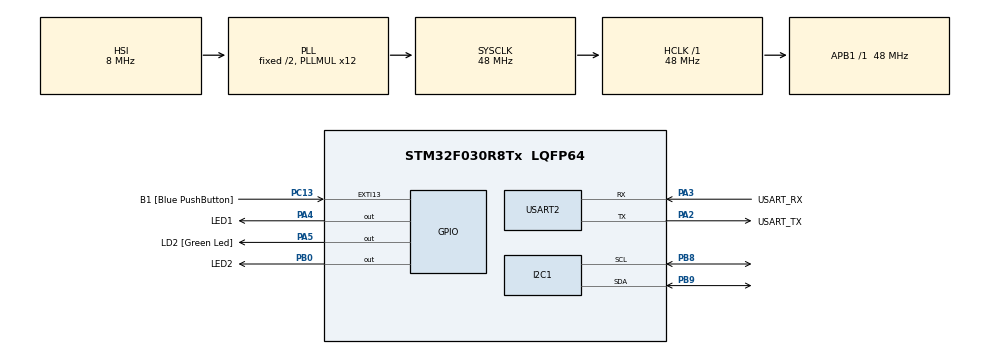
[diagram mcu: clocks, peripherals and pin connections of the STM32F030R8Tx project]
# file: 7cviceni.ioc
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FREERTOS.Queues01=xVisualQueue,16,uint16_t,0,Dynamic,NULL,NULL
FREERTOS.Tasks01=defaultTask,0,128,StartDefaultTask,Default,NULL,Dynamic,NULL,NULL;VisualTask,0,128,StartVisualTask,Default,NULL,Dynamic,NULL,NULL;AcceleroTask,0,128,StartAcceleroTask,Default,NULL,Dynamic,NULL,NULL
FREERTOS.configUSE_NEWLIB_REENTRANT=1
Mcu.Family=STM32F0
Mcu.Name=STM32F030R8Tx
Mcu.Package=LQFP64
NVIC.TIM14_IRQn=true\:3\:0\:false\:false\:true\:false\:false\:true\:true
NVIC.TimeBase=TIM14_IRQn
NVIC.TimeBaseIP=TIM14
PA13.GPIO_Label=TMS
PA13.Mode=Serial_Wire
PA13.Signal=SYS_SWDIO
PA14.GPIO_Label=TCK
PA14.Mode=Serial_Wire
PA14.Signal=SYS_SWCLK
PA2.GPIO_Label=USART_TX
PA2.GPIO_Mode=GPIO_MODE_AF_PP
PA2.GPIO_PuPd=GPIO_NOPULL
PA2.GPIO_Speed=GPIO_SPEED_FREQ_LOW
PA2.Mode=Asynchronous
PA2.Signal=USART2_TX
PA3.GPIO_Label=USART_RX
PA3.GPIO_Mode=GPIO_MODE_AF_PP
PA3.GPIO_PuPd=GPIO_NOPULL
PA3.GPIO_Speed=GPIO_SPEED_FREQ_LOW
PA3.Mode=Asynchronous
PA3.Signal=USART2_RX
PA4.GPIO_Label=LED1
PA4.Signal=GPIO_Output
PA5.GPIO_Label=LD2 [Green Led]
PA5.GPIO_Mode=GPIO_MODE_OUTPUT_PP
PA5.GPIO_PuPd=GPIO_NOPULL
PA5.GPIO_Speed=GPIO_SPEED_FREQ_LOW
PA5.Signal=GPIO_Output
PB0.GPIO_Label=LED2
PB0.Signal=GPIO_Output
PB8.Mode=I2C
PB8.Signal=I2C1_SCL
PB9.Mode=I2C
PB9.Signal=I2C1_SDA
PC13.GPIO_Label=B1 [Blue PushButton]
PC13.GPIO_ModeDefaultEXTI=GPIO_MODE_IT_FALLING
PC13.Signal=GPXTI13
PC14-OSC32_IN.Mode=LSE-External-Oscillator
PC14-OSC32_IN.Signal=RCC_OSC32_IN
PC15-OSC32_OUT.Mode=LSE-External-Oscillator
PC15-OSC32_OUT.Signal=RCC_OSC32_OUT
PF0-OSC_IN.Mode=HSE-External-Clock-Source
PF0-OSC_IN.Signal=RCC_OSC_IN
PF1-OSC_OUT.Signal=RCC_OSC_OUT
ProjectManager.HeapSize=0x200
ProjectManager.StackSize=0x400
ProjectManager.TargetToolchain=STM32CubeIDE
RCC.AHBFreq_Value=48000000
RCC.APB1Freq_Value=48000000
RCC.APB1TimFreq_Value=48000000
RCC.HCLKFreq_Value=48000000
RCC.PLLMUL=RCC_PLL_MUL12
RCC.SYSCLKFreq_VALUE=48000000
RCC.SYSCLKSource=RCC_SYSCLKSOURCE_PLLCLK
USART2.VirtualMode-Asynchronous=VM_ASYNC
VP_FREERTOS_VS_CMSIS_V1.Mode=CMSIS_V1
VP_SYS_VS_tim14.Mode=TIM14
board=NUCLEO-F030R8

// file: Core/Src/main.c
/* USER CODE BEGIN Header */
/**
  ******************************************************************************
  * @file           : main.c
  * @brief          : Main program body
  ******************************************************************************
  * @attention
  *
  * Copyright (c) 2022 STMicroelectronics.
  * All rights reserved.
  *
  * This software is licensed under terms that can be found in the LICENSE file
  * in the root directory of this software component.
  * If no LICENSE file comes with this software, it is provided AS-IS.
  *
  ******************************************************************************
  */
/* USER CODE END Header */
#include "main.h"
#include "cmsis_os.h"

/* USER CODE BEGIN Includes */
#include <lis2dw12_reg.h>
#include <stdlib.h>
#include <stdio.h>
/* USER CODE END Includes */

/* USER CODE BEGIN PD */
#define UART_DELAY 1000 // 1s
/* USER CODE END PD */

I2C_HandleTypeDef hi2c1;

UART_HandleTypeDef huart2;

osThreadId defaultTaskHandle;
osThreadId VisualTaskHandle;
osThreadId AcceleroTaskHandle;
osMessageQId xVisualQueueHandle;

void SystemClock_Config(void);
static void MX_GPIO_Init(void);
static void MX_USART2_UART_Init(void);
static void MX_I2C1_Init(void);
void StartDefaultTask(void const * argument);
void StartVisualTask(void const * argument);
void StartAcceleroTask(void const * argument);

/* USER CODE BEGIN 0 */
static int32_t platform_write(void *handle, uint8_t reg, uint8_t const *bufp, uint16_t len);
static int32_t platform_read(void *handle, uint8_t reg, uint8_t *bufp, uint16_t len);
static stmdev_ctx_t lis2dw12 = {
		.write_reg = platform_write,
		.read_reg = platform_read,
		.handle = &hi2c1,
};
/*
 * Replace the functions "platform_write" and "platform_read" with your
 * platform specific read and write function.
 */
static int32_t platform_write(void *handle, uint8_t reg, const uint8_t *bufp, uint16_t len)
{
	HAL_I2C_Mem_Write(handle, LIS2DW12_I2C_ADD_H, reg, I2C_MEMADD_SIZE_8BIT, (uint8_t*)bufp, len, 1000);
	return 0;
}
static int32_t platform_read(void *handle, uint8_t reg, uint8_t *bufp, uint16_t len)
{
	HAL_I2C_Mem_Read(handle, LIS2DW12_I2C_ADD_H, reg, I2C_MEMADD_SIZE_8BIT, bufp, len, 1000);
	return 0;
}
int _write(int file, char const *buf, int n) { // this function is defined in stdio.h as a weak, so we rewrite it
	/* stdout redirection to UART2 */
	HAL_UART_Transmit(&huart2, (uint8_t*)(buf), n, HAL_MAX_DELAY);
	return n;
}
/* USER CODE END 0 */

int main(void)
{

  /* MCU Configuration--------------------------------------------------------*/

  /* Reset of all peripherals, Initializes the Flash interface and the Systick. */
  HAL_Init();

  /* Configure the system clock */
  SystemClock_Config();

  /* Initialize all configured peripherals */
  MX_GPIO_Init();
  MX_USART2_UART_Init();
  MX_I2C1_Init();

  /* Create the queue(s) */
  /* definition and creation of xVisualQueue */
  osMessageQDef(xVisualQueue, 16, uint16_t);
  xVisualQueueHandle = osMessageCreate(osMessageQ(xVisualQueue), NULL);

  /* Create the thread(s) */
  /* definition and creation of defaultTask */
  osThreadDef(defaultTask, StartDefaultTask, osPriorityNormal, 0, 128);
  defaultTaskHandle = osThreadCreate(osThread(defaultTask), NULL);

  /* definition and creation of VisualTask */
  osThreadDef(VisualTask, StartVisualTask, osPriorityNormal, 0, 128);
  VisualTaskHandle = osThreadCreate(osThread(VisualTask), NULL);

  /* definition and creation of AcceleroTask */
  osThreadDef(AcceleroTask, StartAcceleroTask, osPriorityNormal, 0, 128);
  AcceleroTaskHandle = osThreadCreate(osThread(AcceleroTask), NULL);

  /* Start scheduler */
  osKernelStart(); // We won't reach while and after this startup we will never reach even int main function

  /* We should never get here as control is now taken by the scheduler */
  /* Infinite loop */
  while (1)
  {

  }
}

void SystemClock_Config(void)
{
  RCC_OscInitTypeDef RCC_OscInitStruct = {0};
  RCC_ClkInitTypeDef RCC_ClkInitStruct = {0};
  RCC_PeriphCLKInitTypeDef PeriphClkInit = {0};

  /** Initializes the RCC Oscillators according to the specified parameters
  * in the RCC_OscInitTypeDef structure.
  */
  RCC_OscInitStruct.OscillatorType = RCC_OSCILLATORTYPE_HSI;
  RCC_OscInitStruct.HSIState = RCC_HSI_ON;
  RCC_OscInitStruct.HSICalibrationValue = RCC_HSICALIBRATION_DEFAULT;
  RCC_OscInitStruct.PLL.PLLState = RCC_PLL_ON;
  RCC_OscInitStruct.PLL.PLLSource = RCC_PLLSOURCE_HSI;
  RCC_OscInitStruct.PLL.PLLMUL = RCC_PLL_MUL12;
  RCC_OscInitStruct.PLL.PREDIV = RCC_PREDIV_DIV1;
  if (HAL_RCC_OscConfig(&RCC_OscInitStruct) != HAL_OK)
  {
    Error_Handler();
  }

  /** Initializes the CPU, AHB and APB buses clocks
  */
  RCC_ClkInitStruct.ClockType = RCC_CLOCKTYPE_HCLK|RCC_CLOCKTYPE_SYSCLK
                              |RCC_CLOCKTYPE_PCLK1;
  RCC_ClkInitStruct.SYSCLKSource = RCC_SYSCLKSOURCE_PLLCLK;
  RCC_ClkInitStruct.AHBCLKDivider = RCC_SYSCLK_DIV1;
  RCC_ClkInitStruct.APB1CLKDivider = RCC_HCLK_DIV1;

  if (HAL_RCC_ClockConfig(&RCC_ClkInitStruct, FLASH_LATENCY_1) != HAL_OK)
  {
    Error_Handler();
  }
  PeriphClkInit.PeriphClockSelection = RCC_PERIPHCLK_I2C1;
  PeriphClkInit.I2c1ClockSelection = RCC_I2C1CLKSOURCE_HSI;
  if (HAL_RCCEx_PeriphCLKConfig(&PeriphClkInit) != HAL_OK)
  {
    Error_Handler();
  }
}

static void MX_I2C1_Init(void)
{

  hi2c1.Instance = I2C1;
  hi2c1.Init.Timing = 0x2000090E;
  hi2c1.Init.OwnAddress1 = 0;
  hi2c1.Init.AddressingMode = I2C_ADDRESSINGMODE_7BIT;
  hi2c1.Init.DualAddressMode = I2C_DUALADDRESS_DISABLE;
  hi2c1.Init.OwnAddress2 = 0;
  hi2c1.Init.OwnAddress2Masks = I2C_OA2_NOMASK;
  hi2c1.Init.GeneralCallMode = I2C_GENERALCALL_DISABLE;
  hi2c1.Init.NoStretchMode = I2C_NOSTRETCH_DISABLE;
  if (HAL_I2C_Init(&hi2c1) != HAL_OK)
  {
    Error_Handler();
  }

  /** Configure Analogue filter
  */
  if (HAL_I2CEx_ConfigAnalogFilter(&hi2c1, I2C_ANALOGFILTER_ENABLE) != HAL_OK)
  {
    Error_Handler();
  }

  /** Configure Digital filter
  */
  if (HAL_I2CEx_ConfigDigitalFilter(&hi2c1, 0) != HAL_OK)
  {
    Error_Handler();
  }

}

static void MX_USART2_UART_Init(void)
{

  huart2.Instance = USART2;
  huart2.Init.BaudRate = 38400;
  huart2.Init.WordLength = UART_WORDLENGTH_8B;
  huart2.Init.StopBits = UART_STOPBITS_1;
  huart2.Init.Parity = UART_PARITY_NONE;
  huart2.Init.Mode = UART_MODE_TX_RX;
  huart2.Init.HwFlowCtl = UART_HWCONTROL_NONE;
  huart2.Init.OverSampling = UART_OVERSAMPLING_16;
  huart2.Init.OneBitSampling = UART_ONE_BIT_SAMPLE_DISABLE;
  huart2.AdvancedInit.AdvFeatureInit = UART_ADVFEATURE_NO_INIT;
  if (HAL_UART_Init(&huart2) != HAL_OK)
  {
    Error_Handler();
  }

}

static void MX_GPIO_Init(void)
{
  GPIO_InitTypeDef GPIO_InitStruct = {0};

  /* GPIO Ports Clock Enable */
  __HAL_RCC_GPIOC_CLK_ENABLE();
  __HAL_RCC_GPIOF_CLK_ENABLE();
  __HAL_RCC_GPIOA_CLK_ENABLE();
  __HAL_RCC_GPIOB_CLK_ENABLE();

  /*Configure GPIO pin Output Level */
  HAL_GPIO_WritePin(GPIOA, GPIO_PIN_4|GPIO_PIN_5, GPIO_PIN_RESET);

  /*Configure GPIO pin Output Level */
  HAL_GPIO_WritePin(GPIOB, GPIO_PIN_0, GPIO_PIN_RESET);

  /*Configure GPIO pin : PC13 */
  GPIO_InitStruct.Pin = GPIO_PIN_13;
  GPIO_InitStruct.Mode = GPIO_MODE_IT_FALLING;
  GPIO_InitStruct.Pull = GPIO_NOPULL;
  HAL_GPIO_Init(GPIOC, &GPIO_InitStruct);

  /*Configure GPIO pins : PA4 PA5 */
  GPIO_InitStruct.Pin = GPIO_PIN_4|GPIO_PIN_5;
  GPIO_InitStruct.Mode = GPIO_MODE_OUTPUT_PP;
  GPIO_InitStruct.Pull = GPIO_NOPULL;
  GPIO_InitStruct.Speed = GPIO_SPEED_FREQ_LOW;
  HAL_GPIO_Init(GPIOA, &GPIO_InitStruct);

  /*Configure GPIO pin : PB0 */
  GPIO_InitStruct.Pin = GPIO_PIN_0;
  GPIO_InitStruct.Mode = GPIO_MODE_OUTPUT_PP;
  GPIO_InitStruct.Pull = GPIO_NOPULL;
  GPIO_InitStruct.Speed = GPIO_SPEED_FREQ_LOW;
  HAL_GPIO_Init(GPIOB, &GPIO_InitStruct);

}

void StartDefaultTask(void const * argument)
{
  for(;;)
  {
    osDelay(1);
  }
}

void StartVisualTask(void const * argument)
{
	/* USER CODE BEGIN StartVisualTask */
	/* Infinite loop */
	while(1)
	{
//		int16_t msg; TASK 1
//		if (xQueueReceive(xVisualQueueHandle, &msg, portMAX_DELAY)) { // reads msg from queue
//			if ((msg == -5000) || (msg == 5000)) { // according to the msg value is chosen between turning LED1/2 ON and LED2/1 OFF
//				HAL_GPIO_WritePin(LED2_GPIO_Port, LED2_Pin, 0); // LED2 OFF
//				HAL_GPIO_WritePin(LED1_GPIO_Port, LED1_Pin, 1); // LED1 ON
//			}
//			else {
//				HAL_GPIO_WritePin(LED1_GPIO_Port, LED1_Pin, 0); // LED1 OFF
//				HAL_GPIO_WritePin(LED2_GPIO_Port, LED2_Pin, 1); // LED2 ON
//			}
//			osDelay(1);
//		}
		int16_t msg;
		if (xQueueReceive(xVisualQueueHandle, &msg, portMAX_DELAY)) { // reads msg from queue
			if (msg >= 1000) { // according to the msg value is chosen between turning LED1/2 ON and LED2/1 OFF
				HAL_GPIO_WritePin(LED1_GPIO_Port, LED1_Pin, 0); // LED1 OFF
				HAL_GPIO_WritePin(LED2_GPIO_Port, LED2_Pin, 1); // LED2 ON
			}
			else if (msg <= -1000) {
				HAL_GPIO_WritePin(LED2_GPIO_Port, LED2_Pin, 0); // LED2 OFF
				HAL_GPIO_WritePin(LED1_GPIO_Port, LED1_Pin, 1); // LED1 ON
			}
			else {
				HAL_GPIO_WritePin(LED1_GPIO_Port, LED1_Pin, 0); // LED1 OFF
				HAL_GPIO_WritePin(LED2_GPIO_Port, LED2_Pin, 0); // LED2 OFF
			}
			osDelay(1);
		}
		/* USER CODE END StartVisualTask */
	}
}

void StartAcceleroTask(void const * argument)
{
  /* USER CODE BEGIN StartAcceleroTask */
	// Necessary functions for lis2dw12 sensor driver startup
	lis2dw12_full_scale_set(&lis2dw12, LIS2DW12_2g);
	lis2dw12_power_mode_set(&lis2dw12, LIS2DW12_CONT_LOW_PWR_LOW_NOISE_2);
	lis2dw12_block_data_update_set(&lis2dw12, PROPERTY_ENABLE);
	lis2dw12_fifo_mode_set(&lis2dw12, LIS2DW12_STREAM_MODE); // enable continuous FIFO
	lis2dw12_data_rate_set(&lis2dw12, LIS2DW12_XL_ODR_25Hz); // enable part from power-down

	uint8_t samples;
	int16_t raw_acceleration[3];

	int16_t msg;

	// Check device ID - if I2C works correctly, OK is being sent to the UART
	uint8_t whoamI = 0;
	lis2dw12_device_id_get(&lis2dw12, &whoamI);
	printf("LIS2DW12_ID %s\n", (whoamI == LIS2DW12_ID) ? "OK" : "FAIL");

  /* Infinite loop */
	while(1)
	{
//		/* START OF IF CONDITIONS */ TASK 1
//		// they sets every time different value to msg
//		static uint8_t counter = 0;
//		if (counter == 0) {
//			counter++;
//			msg = -5000;
//		}
//		else if (counter == 1) {
//			counter++;
//			msg = 0;
//		}
//		else if (counter == 2) {
//			counter++;
//			msg = 5000;
//		}
//		else {
//			counter = 0;
//			msg = 0;
//		}
//		/* END OF IF CONDITIONS */
//		xQueueSend(xVisualQueueHandle, &msg, 0); // sends to the queue msg value
//		osDelay(300); // RTOS delay - blocking only in this process, but not in overall CPU time

		/* START OF TASK 2 */
		static uint32_t LastTicks = 0; // for non-blocking
		// this gets data from accelerometer including for cycle, which extracts all of the data
		lis2dw12_fifo_data_level_get(&lis2dw12, &samples);
		for (uint8_t i = 0; i < samples; i++) {
			// Read acceleration data
			lis2dw12_acceleration_raw_get(&lis2dw12, raw_acceleration);
		}
		// X coordinate is set to the msg
		msg = raw_acceleration[0];
		// sends X coordinate (msg) to the queue
		xQueueSend(xVisualQueueHandle, &msg, 0); // sends to the queue msg value

		if (xTaskGetTickCount() >= LastTicks + UART_DELAY) { // non-blocking waiting exclusive for RTOS
			LastTicks = xTaskGetTickCount(); // tick exclusive for RTOS
			printf("X=%d Y=%d Z=%d\n", raw_acceleration[0], raw_acceleration[1], raw_acceleration[2]); // sends all coordinates to UART
		}
		osDelay(50);
		/* END OF TASK 2 */
	}
  /* USER CODE END StartAcceleroTask */
}

void HAL_TIM_PeriodElapsedCallback(TIM_HandleTypeDef *htim)
{
  if (htim->Instance == TIM14) {
    HAL_IncTick();
  }
}

void Error_Handler(void)
{
  __disable_irq();
  while (1)
  {
  }
}
